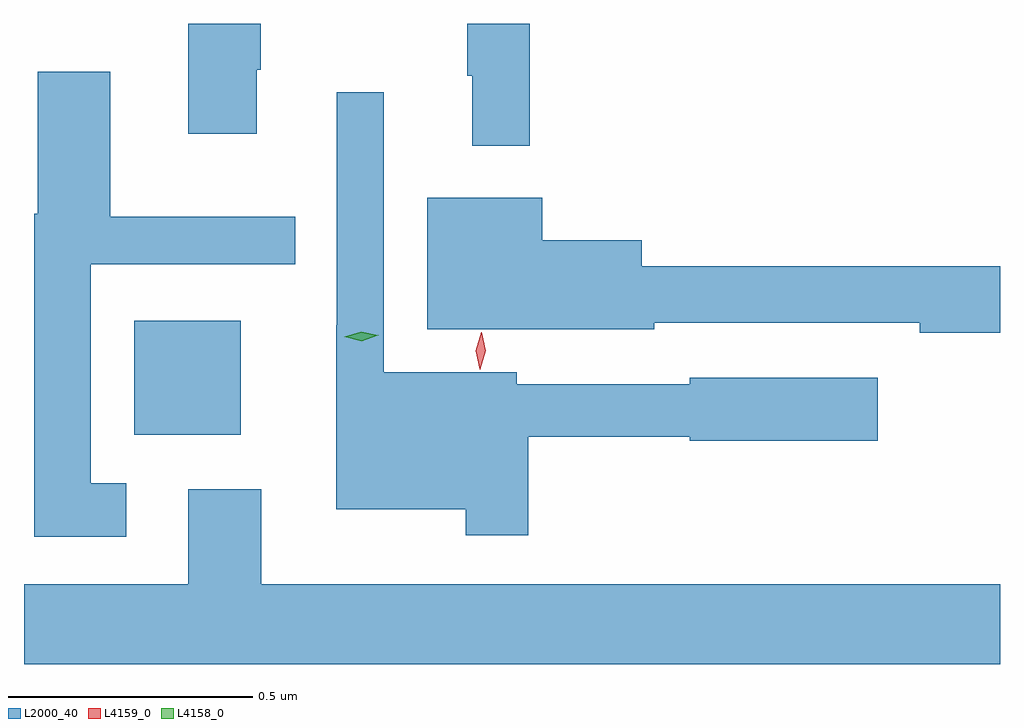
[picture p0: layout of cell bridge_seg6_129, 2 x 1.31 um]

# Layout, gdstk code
import gdstk
lib = gdstk.Library(unit=1e-6, precision=1e-09)
def R(c, l, rs):  # rectangles x0, y0, x1, y1
    for r in rs: c.add(gdstk.rectangle(r[:2], r[2:], *l))
def P(c, l, *ps):  # polygons
    for p in ps: c.add(gdstk.Polygon(p, *l))
L2000_40 = (2000, 40)
L4158_0 = (4158, 0)
L4159_0 = (4159, 0)

bridge_seg6_129 = lib.new_cell('bridge_seg6_129')
R(bridge_seg6_129, L2000_40, [(491.66,951.803,491.878,952.036)])
P(bridge_seg6_129, L2000_40, [(491.911,952.55),(491.919,952.55),(491.919,952.645),(491.771,952.645),(491.771,952.419),(491.911,952.419)],
  [(492.47,952.645),(492.342,952.645),(492.342,952.538),(492.353,952.538),(492.353,952.395),(492.47,952.395)],
  [(491.644,951.703),(491.571,951.703),(491.571,952.152),(491.99,952.152),(491.99,952.249),(491.611,952.249),(491.611,952.546),(491.462,952.546),(491.462,952.255),(491.455,952.255),(491.455,951.594),(491.644,951.594)],
  [(492.467,951.798),(492.798,951.798),(492.798,951.79),(493.183,951.79),(493.183,951.919),(492.798,951.919),(492.798,951.906),(492.444,951.906),(492.444,951.931),(492.171,951.931),(492.171,952.504),(492.075,952.504),(492.075,952.027),(492.074,952.027),(492.074,951.65),(492.339,951.65),(492.339,951.597),(492.467,951.597)],
  [(493.434,952.148),(492.7,952.148),(492.7,952.201),(492.496,952.201),(492.496,952.288),(492.26,952.288),(492.26,952.019),(492.726,952.019),(492.726,952.032),(493.27,952.032),(493.27,952.012),(493.434,952.012)],
  [(493.434,951.496),(491.92,951.496),(491.92,951.691),(491.771,951.691),(491.771,951.496),(491.434,951.496),(491.434,951.332),(493.434,951.332)])
P(bridge_seg6_129, L4158_0, [(492.126,951.994),(492.09,952.003),(492.09,952.003),(492.09,952.003),(492.125,952.014),(492.16,952.006),(492.161,952.006),(492.16,952.006)])
P(bridge_seg6_129, L4159_0, [(492.369,951.936),(492.368,951.937),(492.36,951.975),(492.371,952.013),(492.372,952.013),(492.372,952.013),(492.38,951.975),(492.369,951.937)])

lib.write_gds('bridge_seg6_129.gds')
